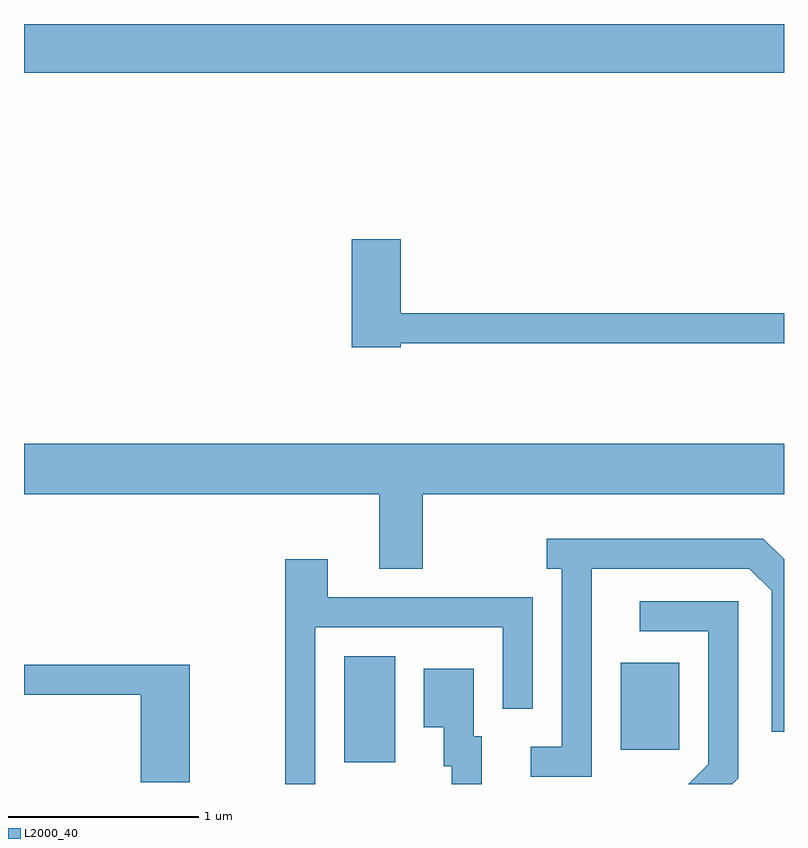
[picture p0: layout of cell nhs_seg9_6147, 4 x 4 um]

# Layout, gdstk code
import gdstk
lib = gdstk.Library(unit=1e-6, precision=1e-09)
def R(c, l, rs):  # rectangles x0, y0, x1, y1
    for r in rs: c.add(gdstk.rectangle(r[:2], r[2:], *l))
def P(c, l, *ps):  # polygons
    for p in ps: c.add(gdstk.Polygon(p, *l))
L2000_40 = (2000, 40)

nhs_seg9_6147 = lib.new_cell('nhs_seg9_6147')
R(nhs_seg9_6147, L2000_40, [(367.296,2072.546,367.564,2073.104), (368.751,2072.611,369.059,2073.069), (365.611,2076.176,369.611,2076.432)])
P(nhs_seg9_6147, L2000_40, [(367.594,2074.751),(369.611,2074.751),(369.611,2074.909),(367.594,2074.909),(367.594,2075.299),(367.336,2075.299),(367.336,2074.731),(367.594,2074.731)],
  [(367.709,2073.956),(369.611,2073.956),(369.611,2074.224),(365.611,2074.224),(365.611,2073.956),(367.481,2073.956),(367.481,2073.566),(367.709,2073.566)],
  [(368.599,2073.566),(369.429,2073.566),(369.546,2073.449),(369.546,2072.708),(369.611,2072.708),(369.611,2073.614),(369.502,2073.724),(368.363,2073.724),(368.363,2073.566),(368.441,2073.566),(368.441,2072.629),(368.278,2072.629),(368.278,2072.471),(368.599,2072.471)],
  [(367.144,2073.256),(368.131,2073.256),(368.131,2072.827),(368.289,2072.827),(368.289,2073.414),(367.209,2073.414),(367.209,2073.614),(366.986,2073.614),(366.986,2072.432),(367.144,2072.432)],
  [(369.369,2072.463),(369.369,2073.394),(368.853,2073.394),(368.853,2073.236),(369.211,2073.236),(369.211,2072.537),(369.106,2072.432),(369.338,2072.432)],
  [(366.484,2073.059),(365.611,2073.059),(365.611,2072.901),(366.226,2072.901),(366.226,2072.441),(366.484,2072.441)],
  [(368.019,2072.684),(367.979,2072.684),(367.979,2073.039),(367.716,2073.039),(367.716,2072.731),(367.821,2072.731),(367.821,2072.526),(367.861,2072.526),(367.861,2072.432),(368.019,2072.432)])

lib.write_gds('nhs_seg9_6147.gds')
